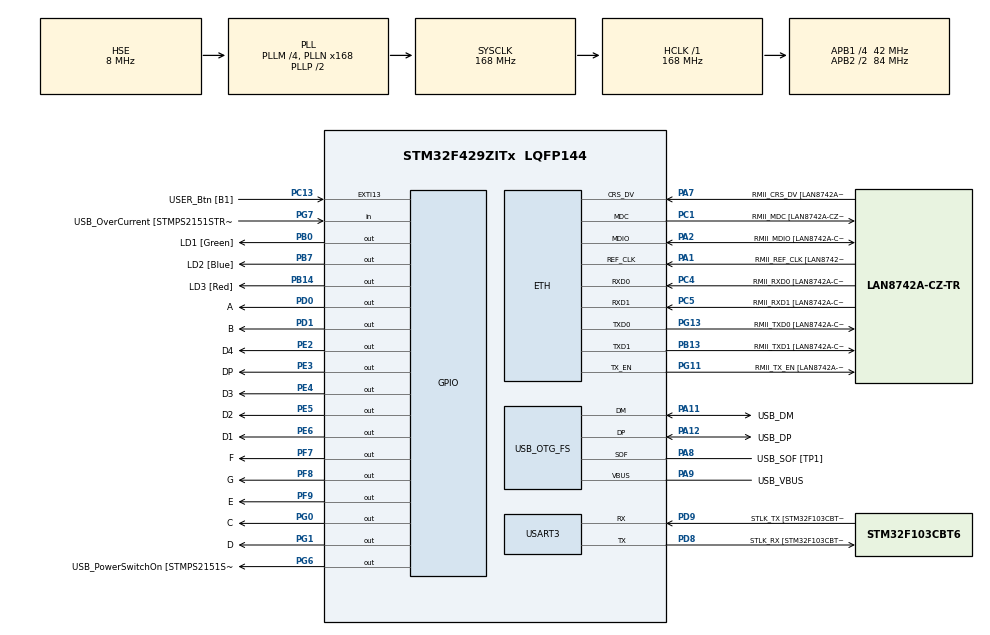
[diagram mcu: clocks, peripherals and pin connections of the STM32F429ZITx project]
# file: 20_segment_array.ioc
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ETH.MediaInterface=HAL_ETH_RMII_MODE
ETH.PHY_Name=LAN8742A_PHY_ADDRESS
ETH.PHY_Value=0
ETH.PhyAddress=0
FREERTOS.Tasks01=defaultTask,24,128,StartDefaultTask,Default,NULL,Dynamic,NULL,NULL
Mcu.Family=STM32F4
Mcu.Name=STM32F429ZITx
Mcu.Package=LQFP144
NVIC.PriorityGroup=NVIC_PRIORITYGROUP_4
NVIC.TIM8_TRG_COM_TIM14_IRQn=true\:15\:0\:false\:false\:true\:false\:false\:true\:true
NVIC.TimeBase=TIM8_TRG_COM_TIM14_IRQn
NVIC.TimeBaseIP=TIM14
PA1.GPIO_Label=RMII_REF_CLK [LAN8742A-CZ-TR_REFCLK0]
PA1.Mode=RMII
PA1.Signal=ETH_REF_CLK
PA10.GPIO_Label=USB_ID
PA10.Signal=USB_OTG_FS_ID
PA11.GPIO_Label=USB_DM
PA11.Mode=Device_Only
PA11.Signal=USB_OTG_FS_DM
PA12.GPIO_Label=USB_DP
PA12.Mode=Device_Only
PA12.Signal=USB_OTG_FS_DP
PA13.GPIO_Label=TMS
PA13.Mode=Serial_Wire
PA13.Signal=SYS_JTMS-SWDIO
PA14.GPIO_Label=TCK
PA14.Mode=Serial_Wire
PA14.Signal=SYS_JTCK-SWCLK
PA2.GPIO_Label=RMII_MDIO [LAN8742A-CZ-TR_MDIO]
PA2.Mode=RMII
PA2.Signal=ETH_MDIO
PA7.GPIO_Label=RMII_CRS_DV [LAN8742A-CZ-TR_CRS_DV]
PA7.Mode=RMII
PA7.Signal=ETH_CRS_DV
PA8.GPIO_Label=USB_SOF [TP1]
PA8.Mode=Activate_SOF_FS
PA8.Signal=USB_OTG_FS_SOF
PA9.GPIO_Label=USB_VBUS
PA9.Mode=Activate_VBUS
PA9.Signal=USB_OTG_FS_VBUS
PB0.GPIO_Label=LD1 [Green]
PB0.Signal=GPIO_Output
PB13.GPIO_Label=RMII_TXD1 [LAN8742A-CZ-TR_TXD1]
PB13.Mode=RMII
PB13.Signal=ETH_TXD1
PB14.GPIO_Label=LD3 [Red]
PB14.Signal=GPIO_Output
PB7.GPIO_Label=LD2 [Blue]
PB7.Signal=GPIO_Output
PC1.GPIO_Label=RMII_MDC [LAN8742A-CZ-TR_MDC]
PC1.Mode=RMII
PC1.Signal=ETH_MDC
PC13.GPIO_Label=USER_Btn [B1]
PC13.Signal=GPXTI13
PC14/OSC32_IN.Mode=LSE-External-Oscillator
PC14/OSC32_IN.Signal=RCC_OSC32_IN
PC15/OSC32_OUT.Mode=LSE-External-Oscillator
PC15/OSC32_OUT.Signal=RCC_OSC32_OUT
PC4.GPIO_Label=RMII_RXD0 [LAN8742A-CZ-TR_RXD0]
PC4.Mode=RMII
PC4.Signal=ETH_RXD0
PC5.GPIO_Label=RMII_RXD1 [LAN8742A-CZ-TR_RXD1]
PC5.Mode=RMII
PC5.Signal=ETH_RXD1
PD0.GPIO_Label=A
PD0.Signal=GPIO_Output
PD1.GPIO_Label=B
PD1.Signal=GPIO_Output
PD8.GPIO_Label=STLK_RX [STM32F103CBT6_PA3]
PD8.Mode=Asynchronous
PD8.Signal=USART3_TX
PD9.GPIO_Label=STLK_TX [STM32F103CBT6_PA2]
PD9.Mode=Asynchronous
PD9.Signal=USART3_RX
PE2.GPIO_Label=D4
PE2.Signal=GPIO_Output
PE3.GPIO_Label=DP
PE3.Signal=GPIO_Output
PE4.GPIO_Label=D3
PE4.Signal=GPIO_Output
PE5.GPIO_Label=D2
PE5.Signal=GPIO_Output
PE6.GPIO_Label=D1
PE6.Signal=GPIO_Output
PF7.GPIO_Label=F
PF7.Signal=GPIO_Output
PF8.GPIO_Label=G
PF8.Signal=GPIO_Output
PF9.GPIO_Label=E
PF9.Signal=GPIO_Output
PG0.GPIO_Label=C
PG0.Signal=GPIO_Output
PG1.GPIO_Label=D
PG1.Signal=GPIO_Output
PG11.GPIO_Label=RMII_TX_EN [LAN8742A-CZ-TR_TXEN]
PG11.Mode=RMII
PG11.Signal=ETH_TX_EN
PG13.GPIO_Label=RMII_TXD0 [LAN8742A-CZ-TR_TXD0]
PG13.Mode=RMII
PG13.Signal=ETH_TXD0
PG6.GPIO_Label=USB_PowerSwitchOn [STMPS2151STR_EN]
PG6.Signal=GPIO_Output
PG7.GPIO_Label=USB_OverCurrent [STMPS2151STR_FAULT]
PG7.Signal=GPIO_Input
PH0/OSC_IN.GPIO_Label=MCO [STM32F103CBT6_PA8]
PH0/OSC_IN.Mode=HSE-External-Clock-Source
PH0/OSC_IN.Signal=RCC_OSC_IN
PH1/OSC_OUT.Mode=HSE-External-Clock-Source
PH1/OSC_OUT.Signal=RCC_OSC_OUT
ProjectManager.HeapSize=0x200
ProjectManager.StackSize=0x400
ProjectManager.TargetToolchain=MDK-ARM V5.32
RCC.48MHZClocksFreq_Value=48000000
RCC.AHBFreq_Value=168000000
RCC.APB1CLKDivider=RCC_HCLK_DIV4
RCC.APB1Freq_Value=42000000
RCC.APB1TimFreq_Value=84000000
RCC.APB2CLKDivider=RCC_HCLK_DIV2
RCC.APB2Freq_Value=84000000
RCC.APB2TimCLKDivider=2
RCC.APB2TimFreq_Value=168000000
RCC.CortexFreq_Value=168000000
RCC.HCLKFreq_Value=168000000
RCC.HSE_VALUE=8000000
RCC.HSI_VALUE=16000000
RCC.PLLM=4
RCC.PLLMUL=RCC_PLL_MUL9
RCC.PLLN=168
RCC.PLLQ=7
RCC.PRESCALERUSB=RCC_USBCLKSOURCE_PLL_DIV1_5
RCC.SYSCLKFreq_VALUE=168000000
RCC.SYSCLKSource=RCC_SYSCLKSOURCE_PLLCLK
RCC.SYSCLKSourceVirtual=RCC_SYSCLKSOURCE_PLLCLK
RCC.USBFreq_Value=48000000
RCC.VCOOutputFreq_Value=336000000
USART3.VirtualMode=VM_ASYNC
USB_OTG_FS.VirtualMode=Device_Only
VP_FREERTOS_VS_CMSIS_V2.Mode=CMSIS_V2
VP_SYS_VS_tim14.Mode=TIM14
board=NUCLEO-F429ZI

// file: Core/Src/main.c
/* USER CODE BEGIN Header */
/**
  ******************************************************************************
  * @file           : main.c
  * @brief          : Main program body
  ******************************************************************************
  * @attention
  *
  * Copyright (c) 2022 STMicroelectronics.
  * All rights reserved.
  *
  * This software is licensed under terms that can be found in the LICENSE file
  * in the root directory of this software component.
  * If no LICENSE file comes with this software, it is provided AS-IS.
  *
  ******************************************************************************
  */
/* USER CODE END Header */
#include "main.h"
#include "string.h"
#include "cmsis_os.h"

/* USER CODE BEGIN Includes */
//#include "app.h"
/* USER CODE END Includes */

ETH_TxPacketConfig TxConfig;
ETH_DMADescTypeDef  DMARxDscrTab[ETH_RX_DESC_CNT]; /* Ethernet Rx DMA Descriptors */
ETH_DMADescTypeDef  DMATxDscrTab[ETH_TX_DESC_CNT]; /* Ethernet Tx DMA Descriptors */

 ETH_HandleTypeDef heth;

UART_HandleTypeDef huart3;

PCD_HandleTypeDef hpcd_USB_OTG_FS;

/* Definitions for defaultTask */
osThreadId_t defaultTaskHandle;
const osThreadAttr_t defaultTask_attributes = {
  .name = "defaultTask",
  .stack_size = 128 * 4,
  .priority = (osPriority_t) osPriorityNormal,
};

void SystemClock_Config(void);
static void MX_GPIO_Init(void);
static void MX_ETH_Init(void);
static void MX_USART3_UART_Init(void);
static void MX_USB_OTG_FS_PCD_Init(void);
void StartDefaultTask(void *argument);

int main(void)
{
  /* USER CODE BEGIN 1 */
	//app_main();
  /* USER CODE END 1 */

  /* MCU Configuration--------------------------------------------------------*/

  /* Reset of all peripherals, Initializes the Flash interface and the Systick. */
  HAL_Init();

  /* Configure the system clock */
  SystemClock_Config();

  /* Initialize all configured peripherals */
  MX_GPIO_Init();
  //MX_ETH_Init();
  MX_USART3_UART_Init();
  MX_USB_OTG_FS_PCD_Init();

  /* Init scheduler */
  osKernelInitialize();

  /* Create the thread(s) */
  /* creation of defaultTask */
  defaultTaskHandle = osThreadNew(StartDefaultTask, NULL, &defaultTask_attributes);

  /* Start scheduler */
  osKernelStart();

  /* We should never get here as control is now taken by the scheduler */
  /* Infinite loop */
  while (1)
  {

  }
}

void SystemClock_Config(void)
{
  RCC_OscInitTypeDef RCC_OscInitStruct = {0};
  RCC_ClkInitTypeDef RCC_ClkInitStruct = {0};

  /** Configure the main internal regulator output voltage
  */
  __HAL_RCC_PWR_CLK_ENABLE();
  __HAL_PWR_VOLTAGESCALING_CONFIG(PWR_REGULATOR_VOLTAGE_SCALE1);

  /** Initializes the RCC Oscillators according to the specified parameters
  * in the RCC_OscInitTypeDef structure.
  */
  RCC_OscInitStruct.OscillatorType = RCC_OSCILLATORTYPE_HSE;
  RCC_OscInitStruct.HSEState = RCC_HSE_BYPASS;
  RCC_OscInitStruct.PLL.PLLState = RCC_PLL_ON;
  RCC_OscInitStruct.PLL.PLLSource = RCC_PLLSOURCE_HSE;
  RCC_OscInitStruct.PLL.PLLM = 4;
  RCC_OscInitStruct.PLL.PLLN = 168;
  RCC_OscInitStruct.PLL.PLLP = RCC_PLLP_DIV2;
  RCC_OscInitStruct.PLL.PLLQ = 7;
  if (HAL_RCC_OscConfig(&RCC_OscInitStruct) != HAL_OK)
  {
    Error_Handler();
  }

  /** Initializes the CPU, AHB and APB buses clocks
  */
  RCC_ClkInitStruct.ClockType = RCC_CLOCKTYPE_HCLK|RCC_CLOCKTYPE_SYSCLK
                              |RCC_CLOCKTYPE_PCLK1|RCC_CLOCKTYPE_PCLK2;
  RCC_ClkInitStruct.SYSCLKSource = RCC_SYSCLKSOURCE_PLLCLK;
  RCC_ClkInitStruct.AHBCLKDivider = RCC_SYSCLK_DIV1;
  RCC_ClkInitStruct.APB1CLKDivider = RCC_HCLK_DIV4;
  RCC_ClkInitStruct.APB2CLKDivider = RCC_HCLK_DIV2;

  if (HAL_RCC_ClockConfig(&RCC_ClkInitStruct, FLASH_LATENCY_5) != HAL_OK)
  {
    Error_Handler();
  }
}

static void MX_ETH_Init(void)
{

   static uint8_t MACAddr[6];

  heth.Instance = ETH;
  MACAddr[0] = 0x00;
  MACAddr[1] = 0x80;
  MACAddr[2] = 0xE1;
  MACAddr[3] = 0x00;
  MACAddr[4] = 0x00;
  MACAddr[5] = 0x00;
  heth.Init.MACAddr = &MACAddr[0];
  heth.Init.MediaInterface = HAL_ETH_RMII_MODE;
  heth.Init.TxDesc = DMATxDscrTab;
  heth.Init.RxDesc = DMARxDscrTab;
  heth.Init.RxBuffLen = 1524;

  if (HAL_ETH_Init(&heth) != HAL_OK)
  {
    Error_Handler();
  }

  memset(&TxConfig, 0 , sizeof(ETH_TxPacketConfig));
  TxConfig.Attributes = ETH_TX_PACKETS_FEATURES_CSUM | ETH_TX_PACKETS_FEATURES_CRCPAD;
  TxConfig.ChecksumCtrl = ETH_CHECKSUM_IPHDR_PAYLOAD_INSERT_PHDR_CALC;
  TxConfig.CRCPadCtrl = ETH_CRC_PAD_INSERT;

}

static void MX_USART3_UART_Init(void)
{

  huart3.Instance = USART3;
  huart3.Init.BaudRate = 115200;
  huart3.Init.WordLength = UART_WORDLENGTH_8B;
  huart3.Init.StopBits = UART_STOPBITS_1;
  huart3.Init.Parity = UART_PARITY_NONE;
  huart3.Init.Mode = UART_MODE_TX_RX;
  huart3.Init.HwFlowCtl = UART_HWCONTROL_NONE;
  huart3.Init.OverSampling = UART_OVERSAMPLING_16;
  if (HAL_UART_Init(&huart3) != HAL_OK)
  {
    Error_Handler();
  }

}

static void MX_USB_OTG_FS_PCD_Init(void)
{

  hpcd_USB_OTG_FS.Instance = USB_OTG_FS;
  hpcd_USB_OTG_FS.Init.dev_endpoints = 4;
  hpcd_USB_OTG_FS.Init.speed = PCD_SPEED_FULL;
  hpcd_USB_OTG_FS.Init.dma_enable = DISABLE;
  hpcd_USB_OTG_FS.Init.phy_itface = PCD_PHY_EMBEDDED;
  hpcd_USB_OTG_FS.Init.Sof_enable = ENABLE;
  hpcd_USB_OTG_FS.Init.low_power_enable = DISABLE;
  hpcd_USB_OTG_FS.Init.lpm_enable = DISABLE;
  hpcd_USB_OTG_FS.Init.vbus_sensing_enable = ENABLE;
  hpcd_USB_OTG_FS.Init.use_dedicated_ep1 = DISABLE;
  if (HAL_PCD_Init(&hpcd_USB_OTG_FS) != HAL_OK)
  {
    Error_Handler();
  }

}

static void MX_GPIO_Init(void)
{
  GPIO_InitTypeDef GPIO_InitStruct = {0};

  /* GPIO Ports Clock Enable */
  __HAL_RCC_GPIOE_CLK_ENABLE();
  __HAL_RCC_GPIOC_CLK_ENABLE();
  __HAL_RCC_GPIOF_CLK_ENABLE();
  __HAL_RCC_GPIOH_CLK_ENABLE();
  __HAL_RCC_GPIOA_CLK_ENABLE();
  __HAL_RCC_GPIOB_CLK_ENABLE();
  __HAL_RCC_GPIOG_CLK_ENABLE();
  __HAL_RCC_GPIOD_CLK_ENABLE();

  /*Configure GPIO pin Output Level */
  HAL_GPIO_WritePin(GPIOE, D4_Pin|DP_Pin|D3_Pin|D2_Pin
                          |D1_Pin, GPIO_PIN_RESET);

  /*Configure GPIO pin Output Level */
  HAL_GPIO_WritePin(GPIOF, F_Pin|G_Pin|E_Pin, GPIO_PIN_RESET);

  /*Configure GPIO pin Output Level */
  HAL_GPIO_WritePin(GPIOB, LD1_Pin|LD3_Pin|LD2_Pin, GPIO_PIN_RESET);

  /*Configure GPIO pin Output Level */
  HAL_GPIO_WritePin(GPIOG, C_Pin|D_Pin|USB_PowerSwitchOn_Pin, GPIO_PIN_RESET);

  /*Configure GPIO pin Output Level */
  HAL_GPIO_WritePin(GPIOD, A_Pin|B_Pin, GPIO_PIN_RESET);

  /*Configure GPIO pins : D4_Pin DP_Pin D3_Pin D2_Pin
                           D1_Pin */
  GPIO_InitStruct.Pin = D4_Pin|DP_Pin|D3_Pin|D2_Pin
                          |D1_Pin;
  GPIO_InitStruct.Mode = GPIO_MODE_OUTPUT_PP;
  GPIO_InitStruct.Pull = GPIO_NOPULL;
  GPIO_InitStruct.Speed = GPIO_SPEED_FREQ_LOW;
  HAL_GPIO_Init(GPIOE, &GPIO_InitStruct);

  /*Configure GPIO pin : USER_Btn_Pin */
  GPIO_InitStruct.Pin = USER_Btn_Pin;
  GPIO_InitStruct.Mode = GPIO_MODE_IT_RISING;
  GPIO_InitStruct.Pull = GPIO_NOPULL;
  HAL_GPIO_Init(USER_Btn_GPIO_Port, &GPIO_InitStruct);

  /*Configure GPIO pins : F_Pin G_Pin E_Pin */
  GPIO_InitStruct.Pin = F_Pin|G_Pin|E_Pin;
  GPIO_InitStruct.Mode = GPIO_MODE_OUTPUT_PP;
  GPIO_InitStruct.Pull = GPIO_NOPULL;
  GPIO_InitStruct.Speed = GPIO_SPEED_FREQ_LOW;
  HAL_GPIO_Init(GPIOF, &GPIO_InitStruct);

  /*Configure GPIO pins : LD1_Pin LD3_Pin LD2_Pin */
  GPIO_InitStruct.Pin = LD1_Pin|LD3_Pin|LD2_Pin;
  GPIO_InitStruct.Mode = GPIO_MODE_OUTPUT_PP;
  GPIO_InitStruct.Pull = GPIO_NOPULL;
  GPIO_InitStruct.Speed = GPIO_SPEED_FREQ_LOW;
  HAL_GPIO_Init(GPIOB, &GPIO_InitStruct);

  /*Configure GPIO pins : C_Pin D_Pin USB_PowerSwitchOn_Pin */
  GPIO_InitStruct.Pin = C_Pin|D_Pin|USB_PowerSwitchOn_Pin;
  GPIO_InitStruct.Mode = GPIO_MODE_OUTPUT_PP;
  GPIO_InitStruct.Pull = GPIO_NOPULL;
  GPIO_InitStruct.Speed = GPIO_SPEED_FREQ_LOW;
  HAL_GPIO_Init(GPIOG, &GPIO_InitStruct);

  /*Configure GPIO pin : USB_OverCurrent_Pin */
  GPIO_InitStruct.Pin = USB_OverCurrent_Pin;
  GPIO_InitStruct.Mode = GPIO_MODE_INPUT;
  GPIO_InitStruct.Pull = GPIO_NOPULL;
  HAL_GPIO_Init(USB_OverCurrent_GPIO_Port, &GPIO_InitStruct);

  /*Configure GPIO pins : A_Pin B_Pin */
  GPIO_InitStruct.Pin = A_Pin|B_Pin;
  GPIO_InitStruct.Mode = GPIO_MODE_OUTPUT_PP;
  GPIO_InitStruct.Pull = GPIO_NOPULL;
  GPIO_InitStruct.Speed = GPIO_SPEED_FREQ_LOW;
  HAL_GPIO_Init(GPIOD, &GPIO_InitStruct);

}

typedef union {
	struct _bit {
		uint8_t g		: 1;
		uint8_t f		: 1;
		uint8_t e		: 1;
		uint8_t d		: 1;
		uint8_t c		: 1;
		uint8_t b		: 1;
		uint8_t a		: 1;
		uint8_t dp		: 1;
	} bit;

	uint8_t data;
} FONT_T;

FONT_T Font[10];

void disp_font(idx)
{
	FONT_T font = Font[idx];

	HAL_GPIO_WritePin(A_GPIO_Port,  A_Pin, font.bit.a);
	HAL_GPIO_WritePin(B_GPIO_Port, B_Pin, font.bit.b);
	HAL_GPIO_WritePin(C_GPIO_Port,  C_Pin, font.bit.c);
	HAL_GPIO_WritePin(D_GPIO_Port,  D_Pin, font.bit.d);
	HAL_GPIO_WritePin(E_GPIO_Port,  E_Pin, font.bit.e);
	HAL_GPIO_WritePin(F_GPIO_Port,  F_Pin, font.bit.f);
	HAL_GPIO_WritePin(G_GPIO_Port,  G_Pin, font.bit.g);
	HAL_GPIO_WritePin(DP_GPIO_Port, DP_Pin, font.bit.dp);
}

void disp_seg(uint8_t idx)
{
	switch (idx) {
		case 0: {
			HAL_GPIO_WritePin(D1_GPIO_Port,  D1_Pin, GPIO_PIN_SET);
			HAL_GPIO_WritePin(D2_GPIO_Port,  D2_Pin, GPIO_PIN_SET);
			HAL_GPIO_WritePin(D3_GPIO_Port,  D3_Pin, GPIO_PIN_SET);
			HAL_GPIO_WritePin(D4_GPIO_Port,  D4_Pin, GPIO_PIN_RESET);
		} break;
		case 1: {
			HAL_GPIO_WritePin(D1_GPIO_Port,  D1_Pin, GPIO_PIN_SET);
			HAL_GPIO_WritePin(D2_GPIO_Port,  D2_Pin, GPIO_PIN_SET);
			HAL_GPIO_WritePin(D3_GPIO_Port,  D3_Pin, GPIO_PIN_RESET);
			HAL_GPIO_WritePin(D4_GPIO_Port,  D4_Pin, GPIO_PIN_SET);
		} break;
		case 2: {
			HAL_GPIO_WritePin(D1_GPIO_Port,  D1_Pin, GPIO_PIN_SET);
			HAL_GPIO_WritePin(D2_GPIO_Port,  D2_Pin, GPIO_PIN_RESET);
			HAL_GPIO_WritePin(D3_GPIO_Port,  D3_Pin, GPIO_PIN_SET);
			HAL_GPIO_WritePin(D4_GPIO_Port,  D4_Pin, GPIO_PIN_SET);
		} break;
		case 3: {
			HAL_GPIO_WritePin(D1_GPIO_Port,  D1_Pin, GPIO_PIN_RESET);
			HAL_GPIO_WritePin(D2_GPIO_Port,  D2_Pin, GPIO_PIN_SET);
			HAL_GPIO_WritePin(D3_GPIO_Port,  D3_Pin, GPIO_PIN_SET);
			HAL_GPIO_WritePin(D4_GPIO_Port,  D4_Pin, GPIO_PIN_SET);
		} break;
	}
}

void StartDefaultTask(void *argument)
{
  /* USER CODE BEGIN 5 */
  /* Infinite loop */
	uint8_t idx = 0;
	uint8_t disp[] = "3214";
	uint8_t font_idx;

	Font[0].data = 0x7f;
	Font[1].data = 0x30;
	Font[2].data = 0x6e;
	Font[3].data = 0x79;
	Font[4].data = 0x33;
	Font[5].data = 0x5b;
	Font[6].data = 0x5f;
	Font[7].data = 0x72;
	Font[8].data = 0x7f;
	Font[9].data = 0x7b;

  for(;;)
  {
    osDelay(5);
		idx++;
		idx %= 4;		// 7 segment 개수

		font_idx = disp[idx]-'0';
		disp_seg(idx);
		disp_font(font_idx);
  }
  /* USER CODE END 5 */
}

void HAL_TIM_PeriodElapsedCallback(TIM_HandleTypeDef *htim)
{
  if (htim->Instance == TIM14) {
    HAL_IncTick();
  }
}

void Error_Handler(void)
{
  __disable_irq();
  while (1)
  {
  }
}
